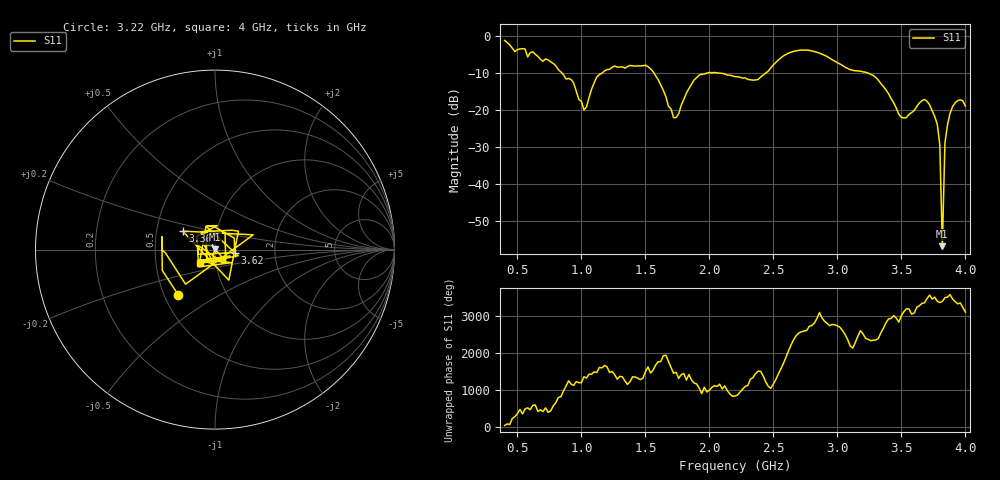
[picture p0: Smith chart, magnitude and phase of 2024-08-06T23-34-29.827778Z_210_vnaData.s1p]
!Created with skrf (http://scikit-rf.org).
# Hz S RI R 50.0
!freq ReS11 ImS11
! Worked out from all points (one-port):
!   181 points, 400 MHz to 4 GHz, reference 50 ohm
!   lowest |S11| = -56.7 dB at 3.82 GHz (marker M1), VSWR 1.00, Z = 49.9 + j0.0655 ohm
!   |S11| at or under -10 dB: 1.567 GHz to 1.981 GHz (413.7 MHz wide, 23.3 % of centre); 2.074 GHz to 2.439 GHz (365.7 MHz wide, 16.2 % of centre); 3.239 GHz to end of sweep (the widest 3 of 4)
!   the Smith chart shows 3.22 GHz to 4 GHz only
!   S11 on the Smith chart (normalised r, x): 3.22 GHz: 0.59, -0.33; 3.36 GHz: 0.68, +0.15; 3.62 GHz: 1.25, -0.04; 4 GHz: 0.84, -0.13
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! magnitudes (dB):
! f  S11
! 400 MHz  -1.2
! 860 MHz  -10.5
! 940 MHz  -12.7
! 1.02 GHz  -20.0
! 1.12 GHz  -11.1
! 1.3 GHz  -8.4
! 1.52 GHz  -8.3
! 1.6 GHz  -11.8
! 1.72 GHz  -22.0
! 1.76 GHz  -21.0
! 1.92 GHz  -10.5
! 2.2 GHz  -11.0
! 2.38 GHz  -11.7
! 2.66 GHz  -4.1
! 3.1 GHz  -9.1
! 3.22 GHz  -9.8
! 3.36 GHz  -13.7
! 3.5 GHz  -21.9
! 3.56 GHz  -21.1
! 3.62 GHz  -19.0
! 3.7 GHz  -17.6
! 3.78 GHz  -23.8
! 3.8 GHz  -29.2
! 3.82 GHz  -56.7
! 3.84 GHz  -29.0
! 3.86 GHz  -24.0
! 3.92 GHz  -18.0
! 4 GHz  -18.9
